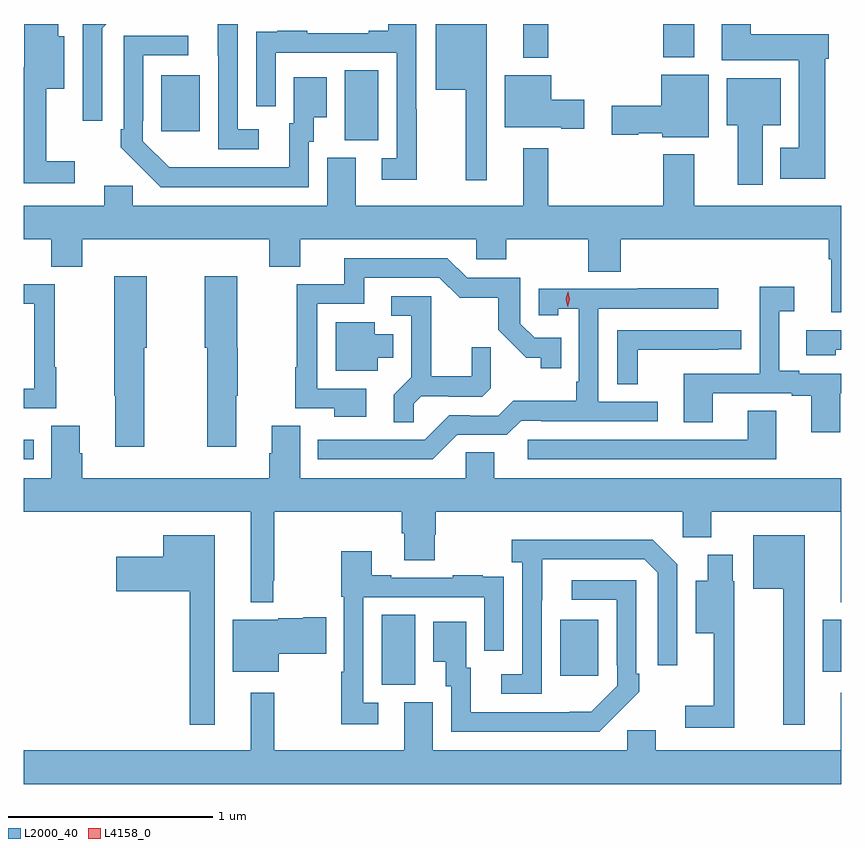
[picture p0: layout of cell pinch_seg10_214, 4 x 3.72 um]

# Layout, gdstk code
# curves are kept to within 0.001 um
import gdstk
lib = gdstk.Library(unit=1e-6, precision=1e-09)
def R(c, l, rs):  # rectangles x0, y0, x1, y1
    for r in rs: c.add(gdstk.rectangle(r[:2], r[2:], *l))
def P(c, l, *ps):  # polygons
    for p in ps: c.add(gdstk.Polygon(p, *l))
L2000_40 = (2000, 40)
L4158_0 = (4158, 0)

pinch_seg10_214 = lib.new_cell('pinch_seg10_214')
R(pinch_seg10_214, L2000_40, [(634.85,1296.805,635.014,1297.148), (635.723,1296.849,635.911,1297.123), (637.007,1296.869,637.099,1297.123), (633.099,1297.908,633.148,1298.004), (634.67,1299.469,634.834,1299.812), (633.773,1299.513,633.961,1299.787), (635.543,1299.872,635.665,1300.038), (636.227,1299.875,636.379,1300.038)])
P(pinch_seg10_214, L2000_40, [(633.349,1299.367),(633.209,1299.367),(633.209,1299.722),(633.298,1299.722),(633.298,1299.979),(633.268,1299.979),(633.268,1300.038),(633.103,1300.038),(633.103,1299.826),(633.099,1299.826),(633.099,1299.258),(633.349,1299.258)],
  [(637.02,1299.867),(637.038,1299.867),(637.038,1299.988),(636.655,1299.988),(636.655,1300.038),(636.515,1300.038),(636.515,1299.86),(636.89,1299.86),(636.89,1299.433),(636.8,1299.433),(636.8,1299.281),(637.02,1299.281)],
  [(635.365,1300.038),(635.114,1300.038),(635.114,1299.716),(635.261,1299.716),(635.261,1299.273),(635.365,1299.273)],
  [(635.022,1299.62),(635.019,1299.62),(635.019,1300.038),(634.883,1300.038),(634.883,1300.006),(634.787,1300.006),(634.787,1299.993),(634.487,1299.993),(634.487,1300.006),(634.339,1300.006),(634.339,1299.999),(634.237,1299.999),(634.237,1299.89),(634.236,1299.89),(634.236,1299.636),(634.332,1299.636),(634.332,1299.897),(634.923,1299.897),(634.923,1299.381),(634.851,1299.381),(634.851,1299.276),(635.022,1299.276)],
  [(633.483,1300.017),(633.504,1300.038),(633.387,1300.038),(633.387,1299.564),(633.483,1299.564)],
  [(634.249,1299.522),(634.146,1299.522),(634.146,1300.038),(634.049,1300.038),(634.049,1299.883),(634.05,1299.883),(634.05,1299.426),(634.249,1299.426)],
  [(634.494,1299.462),(634.519,1299.462),(634.519,1299.581),(634.582,1299.581),(634.582,1299.778),(634.421,1299.778),(634.421,1299.552),(634.397,1299.552),(634.397,1299.336),(633.81,1299.337),(633.681,1299.465),(633.681,1299.565),(633.684,1299.565),(633.684,1299.885),(633.904,1299.885),(633.904,1299.981),(633.588,1299.981),(633.588,1299.523),(633.573,1299.523),(633.573,1299.435),(633.77,1299.24),(634.494,1299.24)],
  [(636.451,1299.79),(636.218,1299.79),(636.218,1299.638),(635.976,1299.638),(635.976,1299.496),(636.105,1299.496),(636.105,1299.503),(636.222,1299.503),(636.222,1299.485),(636.451,1299.485)],
  [(635.842,1299.668),(635.68,1299.668),(635.68,1299.787),(635.453,1299.787),(635.453,1299.533),(635.729,1299.533),(635.729,1299.526),(635.842,1299.526)],
  [(636.715,1299.542),(636.802,1299.542),(636.802,1299.772),(636.539,1299.772),(636.539,1299.542),(636.593,1299.542),(636.593,1299.252),(636.715,1299.252)],
  [(637.099,1299.148),(636.379,1299.148),(636.379,1299.4),(636.227,1299.4),(636.227,1299.148),(635.665,1299.148),(635.665,1299.43),(635.543,1299.43),(635.543,1299.148),(634.723,1299.148),(634.723,1299.384),(634.583,1299.384),(634.583,1299.148),(633.633,1299.148),(633.633,1299.246),(633.494,1299.246),(633.494,1299.148),(633.099,1299.148),(633.099,1298.984),(633.233,1298.984),(633.233,1298.851),(633.386,1298.851),(633.386,1298.984),(634.301,1298.984),(634.301,1298.851),(634.453,1298.851),(634.453,1298.984),(635.313,1298.984),(635.313,1298.886),(635.46,1298.886),(635.46,1298.984),(635.86,1298.984),(635.86,1298.827),(636.02,1298.827),(636.02,1298.984),(637.037,1298.984),(637.037,1298.888),(637.049,1298.888),(637.049,1298.628),(637.099,1298.628)],
  [(634.774,1298.253),(634.536,1298.253),(634.536,1298.67),(634.765,1298.67),(634.765,1298.796),(635.133,1298.796),(635.232,1298.698),(635.421,1298.698),(635.421,1298.542),(635.558,1298.405),(635.628,1298.405),(635.628,1298.355),(635.729,1298.355),(635.729,1298.502),(635.598,1298.502),(635.529,1298.571),(635.529,1298.796),(635.268,1298.796),(635.172,1298.892),(634.667,1298.892),(634.667,1298.766),(634.435,1298.766),(634.435,1298.36),(634.428,1298.36),(634.428,1298.157),(634.618,1298.157),(634.618,1298.117),(634.774,1298.117)],
  [(634.138,1298.219),(634.146,1298.219),(634.146,1298.454),(634.144,1298.454),(634.144,1298.803),(633.986,1298.803),(633.986,1298.454),(633.997,1298.454),(633.997,1297.971),(634.138,1297.971)],
  [(633.69,1298.454),(633.7,1298.454),(633.7,1298.803),(633.542,1298.803),(633.542,1298.454),(633.541,1298.454),(633.541,1298.219),(633.548,1298.219),(633.548,1297.971),(633.69,1297.971)],
  [(633.259,1298.36),(633.251,1298.36),(633.251,1298.766),(633.099,1298.766),(633.099,1298.67),(633.15,1298.67),(633.15,1298.253),(633.099,1298.253),(633.099,1298.157),(633.259,1298.157)],
  [(637.093,1298.232),(637.099,1298.232),(637.099,1298.328),(636.892,1298.328),(636.892,1298.341),(636.796,1298.341),(636.796,1298.632),(636.868,1298.632),(636.868,1298.752),(636.699,1298.752),(636.699,1298.328),(636.329,1298.328),(636.329,1298.089),(636.469,1298.089),(636.469,1298.232),(636.857,1298.232),(636.857,1298.22),(636.953,1298.22),(636.953,1298.04),(637.093,1298.04)],
  [(635.22,1298.028),(635.463,1298.028),(635.532,1298.097),(635.632,1298.097),(635.632,1298.094),(636.202,1298.094),(636.202,1298.19),(635.91,1298.19),(635.91,1298.646),(636.496,1298.646),(636.496,1298.745),(636.103,1298.745),(636.103,1298.742),(635.619,1298.742),(635.619,1298.613),(635.715,1298.613),(635.715,1298.645),(635.814,1298.645),(635.814,1298.287),(635.802,1298.287),(635.802,1298.194),(635.494,1298.194),(635.421,1298.121),(635.282,1298.121),(635.282,1298.124),(635.181,1298.124),(635.061,1298.004),(634.538,1298.004),(634.538,1297.908),(635.1,1297.908)],
  [(635.007,1298.18),(635.044,1298.217),(635.178,1298.217),(635.178,1298.214),(635.343,1298.214),(635.384,1298.255),(635.384,1298.457),(635.29,1298.457),(635.29,1298.314),(635.093,1298.314),(635.093,1298.706),(634.896,1298.706),(634.896,1298.61),(634.995,1298.61),(634.995,1298.311),(634.909,1298.225),(634.909,1298.089),(635.007,1298.089)],
  [(634.831,1298.405),(634.906,1298.405),(634.906,1298.521),(634.816,1298.521),(634.816,1298.578),(634.625,1298.578),(634.625,1298.342),(634.831,1298.342)],
  [(637.071,1298.445),(637.099,1298.445),(637.099,1298.541),(636.927,1298.541),(636.927,1298.417),(637.071,1298.417)],
  [(636.102,1298.445),(636.497,1298.445),(636.497,1298.446),(636.61,1298.446),(636.61,1298.541),(636.003,1298.541),(636.003,1298.275),(636.102,1298.275)],
  [(636.781,1298.147),(636.641,1298.147),(636.641,1298.004),(635.565,1298.004),(635.565,1297.908),(636.781,1297.908)],
  [(634.321,1297.315),(634.325,1297.315),(634.325,1297.652),(634.949,1297.652),(634.949,1297.546),(634.961,1297.546),(634.961,1297.414),(635.109,1297.414),(635.109,1297.539),(635.114,1297.539),(635.114,1297.652),(636.324,1297.652),(636.324,1297.526),(636.463,1297.526),(636.463,1297.652),(637.097,1297.652),(637.097,1297.208),(637.099,1297.208),(637.099,1297.816),(635.401,1297.816),(635.401,1297.943),(635.262,1297.943),(635.262,1297.816),(634.453,1297.816),(634.453,1298.072),(634.313,1298.072),(634.313,1297.938),(634.301,1297.938),(634.301,1297.816),(633.386,1297.816),(633.386,1297.938),(633.373,1297.938),(633.373,1298.072),(633.233,1298.072),(633.233,1297.816),(633.099,1297.816),(633.099,1297.652),(634.211,1297.652),(634.211,1297.208),(634.321,1297.208)],
  [(634.033,1297.537),(633.782,1297.537),(633.782,1297.432),(633.552,1297.432),(633.552,1297.262),(633.912,1297.262),(633.912,1296.609),(634.033,1296.609)],
  [(636.919,1297.537),(636.668,1297.537),(636.668,1297.274),(636.815,1297.274),(636.815,1296.609),(636.919,1296.609)],
  [(635.634,1297.219),(635.635,1297.419),(636.135,1297.419),(636.201,1297.353),(636.201,1296.9),(636.297,1296.9),(636.297,1297.395),(636.176,1297.516),(635.487,1297.516),(635.487,1297.406),(635.538,1297.406),(635.538,1296.858),(635.436,1296.858),(635.436,1296.762),(635.634,1296.762)],
  [(634.834,1296.717),(634.761,1296.717),(634.761,1297.233),(635.352,1297.233),(635.352,1296.972),(635.448,1296.972),(635.448,1297.226),(635.447,1297.226),(635.447,1297.335),(635.345,1297.335),(635.345,1297.342),(635.197,1297.342),(635.197,1297.329),(634.897,1297.329),(634.897,1297.342),(634.801,1297.342),(634.801,1297.459),(634.653,1297.459),(634.653,1297.236),(634.665,1297.236),(634.665,1296.869),(634.653,1296.869),(634.653,1296.612),(634.834,1296.612)],
  [(636.576,1297.311),(636.568,1297.311),(636.568,1297.441),(636.446,1297.441),(636.446,1297.315),(636.386,1297.315),(636.386,1297.058),(636.476,1297.058),(636.476,1296.703),(636.336,1296.703),(636.336,1296.594),(636.576,1296.594)],
  [(636.005,1296.667),(636.006,1296.666),(636.111,1296.771),(636.111,1296.859),(636.096,1296.859),(636.096,1297.317),(635.781,1297.317),(635.781,1297.221),(636,1297.221),(636,1296.901),(636.003,1296.901),(636.003,1296.801),(635.875,1296.673),(635.287,1296.672),(635.287,1296.888),(635.263,1296.888),(635.263,1297.114),(635.102,1297.114),(635.102,1296.917),(635.165,1296.917),(635.165,1296.798),(635.19,1296.798),(635.19,1296.576),(635.914,1296.576)],
  [(634.348,1296.958),(634.579,1296.958),(634.579,1297.136),(634.466,1297.136),(634.466,1297.13),(634.344,1297.13),(634.344,1297.123),(634.121,1297.123),(634.121,1296.869),(634.348,1296.869)],
  [(637.099,1296.766),(637.097,1296.766),(637.097,1296.484),(636.19,1296.484),(636.19,1296.582),(636.051,1296.582),(636.051,1296.484),(635.101,1296.484),(635.101,1296.72),(634.961,1296.72),(634.961,1296.484),(634.325,1296.484),(634.325,1296.766),(634.211,1296.766),(634.211,1296.484),(633.099,1296.484),(633.099,1296.32),(637.099,1296.32)])
P(pinch_seg10_214, L4158_0, [(635.76,1298.655),(635.751,1298.691),(635.761,1298.726),(635.762,1298.727),(635.762,1298.726),(635.771,1298.691),(635.761,1298.655),(635.761,1298.655)])

lib.write_gds('pinch_seg10_214.gds')
